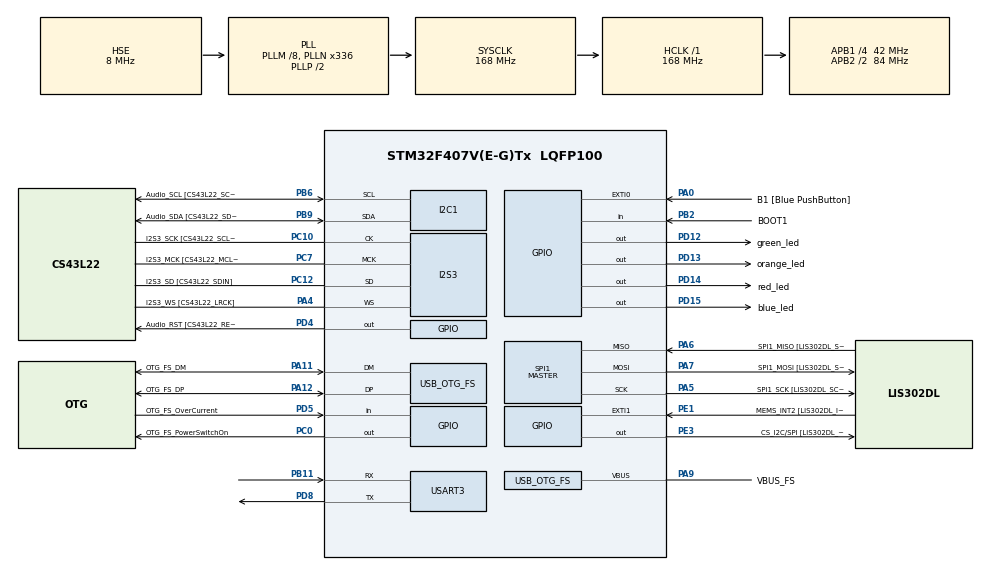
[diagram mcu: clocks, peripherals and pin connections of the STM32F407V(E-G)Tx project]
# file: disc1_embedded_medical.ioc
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I2S3.AudioFreq-Half_Duplex_Master=I2S_AUDIOFREQ_96K
I2S3.ErrorAudioFreq=-2.34 %
I2S3.ErrorAudioFreq-Half_Duplex_Master=0.8 %
I2S3.FullDuplexMode=I2S_FULLDUPLEXMODE_DISABLE
I2S3.Instance=SPI$Index
I2S3.RealAudioFreq=93.75 KHz
I2S3.RealAudioFreq-Half_Duplex_Master=96.774 KHz
I2S3.VirtualMode=I2S_MODE_MASTER
Mcu.Family=STM32F4
Mcu.Name=STM32F407V(E-G)Tx
Mcu.Package=LQFP100
NVIC.OTG_FS_IRQn=true\:0\:0\:false\:false\:true\:true\:true\:true
NVIC.PriorityGroup=NVIC_PRIORITYGROUP_0
PA0-WKUP.GPIO_Label=B1 [Blue PushButton]
PA0-WKUP.GPIO_ModeDefaultEXTI=GPIO_MODE_EVT_RISING
PA0-WKUP.GPIO_PuPd=GPIO_NOPULL
PA0-WKUP.Signal=GPXTI0
PA10.GPIO_Label=OTG_FS_ID
PA10.GPIO_Mode=GPIO_MODE_AF_PP
PA10.GPIO_PuPd=GPIO_NOPULL
PA10.GPIO_Speed=GPIO_SPEED_FREQ_LOW
PA10.Signal=USB_OTG_FS_ID
PA11.GPIO_Label=OTG_FS_DM
PA11.GPIO_Mode=GPIO_MODE_AF_PP
PA11.GPIO_PuPd=GPIO_NOPULL
PA11.GPIO_Speed=GPIO_SPEED_FREQ_LOW
PA11.Mode=Host_Only
PA11.Signal=USB_OTG_FS_DM
PA12.GPIO_Label=OTG_FS_DP
PA12.GPIO_Mode=GPIO_MODE_AF_PP
PA12.GPIO_PuPd=GPIO_NOPULL
PA12.GPIO_Speed=GPIO_SPEED_FREQ_LOW
PA12.Mode=Host_Only
PA12.Signal=USB_OTG_FS_DP
PA13.GPIO_Label=SWDIO
PA13.Mode=Serial_Wire
PA13.Signal=SYS_JTMS-SWDIO
PA14.GPIO_Label=SWCLK
PA14.Mode=Serial_Wire
PA14.Signal=SYS_JTCK-SWCLK
PA4.GPIO_Label=I2S3_WS [CS43L22_LRCK]
PA4.GPIO_Mode=GPIO_MODE_AF_PP
PA4.GPIO_PuPd=GPIO_NOPULL
PA4.GPIO_Speed=GPIO_SPEED_FREQ_LOW
PA4.Mode=Half_Duplex_Master
PA4.Signal=I2S3_WS
PA5.GPIO_Label=SPI1_SCK [LIS302DL_SCL/SPC]
PA5.GPIO_Mode=GPIO_MODE_AF_PP
PA5.GPIO_PuPd=GPIO_NOPULL
PA5.GPIO_Speed=GPIO_SPEED_FREQ_LOW
PA5.Mode=Full_Duplex_Master
PA5.Signal=SPI1_SCK
PA6.GPIO_Label=SPI1_MISO [LIS302DL_SDO]
PA6.GPIO_Mode=GPIO_MODE_AF_PP
PA6.GPIO_PuPd=GPIO_NOPULL
PA6.GPIO_Speed=GPIO_SPEED_FREQ_LOW
PA6.Mode=Full_Duplex_Master
PA6.Signal=SPI1_MISO
PA7.GPIO_Label=SPI1_MOSI [LIS302DL_SDA/SDI/SDO]
PA7.GPIO_Mode=GPIO_MODE_AF_PP
PA7.GPIO_PuPd=GPIO_NOPULL
PA7.GPIO_Speed=GPIO_SPEED_FREQ_LOW
PA7.Mode=Full_Duplex_Master
PA7.Signal=SPI1_MOSI
PA9.GPIO_Label=VBUS_FS
PA9.GPIO_Mode=GPIO_MODE_INPUT
PA9.GPIO_PuPd=GPIO_NOPULL
PA9.Mode=Activate_VBUS
PA9.Signal=USB_OTG_FS_VBUS
PB10.GPIO_Label=CLK_IN [MP45DT02_CLK]
PB10.GPIO_Mode=GPIO_MODE_AF_PP
PB10.GPIO_PuPd=GPIO_NOPULL
PB10.GPIO_Speed=GPIO_SPEED_FREQ_LOW
PB10.Signal=I2S2_CK
PB11.Mode=Asynchronous
PB11.Signal=USART3_RX
PB2.GPIO_Label=BOOT1
PB2.GPIO_Mode=GPIO_MODE_INPUT
PB2.GPIO_PuPd=GPIO_NOPULL
PB2.Signal=GPIO_Input
PB3.GPIO_Label=SWO
PB3.Signal=SYS_JTDO-SWO
PB6.GPIO_Label=Audio_SCL [CS43L22_SCL]
PB6.GPIO_Mode=GPIO_MODE_AF_OD
PB6.GPIO_Pu=GPIO_PULLUP
PB6.GPIO_PuPd=GPIO_NOPULL
PB6.GPIO_Speed=GPIO_SPEED_FREQ_LOW
PB6.Mode=I2C
PB6.Signal=I2C1_SCL
PB9.GPIO_Label=Audio_SDA [CS43L22_SDA]
PB9.GPIO_Mode=GPIO_MODE_AF_OD
PB9.GPIO_Pu=GPIO_PULLUP
PB9.GPIO_PuPd=GPIO_NOPULL
PB9.GPIO_Speed=GPIO_SPEED_FREQ_LOW
PB9.Mode=I2C
PB9.Signal=I2C1_SDA
PC0.GPIO_Label=OTG_FS_PowerSwitchOn
PC0.GPIO_PuPd=GPIO_NOPULL
PC0.GPIO_Speed=GPIO_SPEED_FREQ_LOW
PC0.PinState=GPIO_PIN_SET
PC0.Signal=GPIO_Output
PC10.GPIO_Label=I2S3_SCK [CS43L22_SCLK]
PC10.GPIO_Mode=GPIO_MODE_AF_PP
PC10.GPIO_PuPd=GPIO_NOPULL
PC10.GPIO_Speed=GPIO_SPEED_FREQ_LOW
PC10.Mode=Half_Duplex_Master
PC10.Signal=I2S3_CK
PC12.GPIO_Label=I2S3_SD [CS43L22_SDIN]
PC12.GPIO_Mode=GPIO_MODE_AF_PP
PC12.GPIO_PuPd=GPIO_NOPULL
PC12.GPIO_Speed=GPIO_SPEED_FREQ_LOW
PC12.Mode=Half_Duplex_Master
PC12.Signal=I2S3_SD
PC14-OSC32_IN.GPIO_Label=PC14-OSC32_IN
PC14-OSC32_IN.Mode=LSE-External-Oscillator
PC14-OSC32_IN.Signal=RCC_OSC32_IN
PC15-OSC32_OUT.GPIO_Label=PC15-OSC32_OUT
PC15-OSC32_OUT.Mode=LSE-External-Oscillator
PC15-OSC32_OUT.Signal=RCC_OSC32_OUT
PC3.GPIO_Label=PDM_OUT [MP45DT02_DOUT]
PC3.GPIO_Mode=GPIO_MODE_AF_PP
PC3.GPIO_PuPd=GPIO_NOPULL
PC3.GPIO_Speed=GPIO_SPEED_FREQ_LOW
PC3.Signal=I2S2_SD
PC7.GPIO_Label=I2S3_MCK [CS43L22_MCLK]
PC7.GPIO_Mode=GPIO_MODE_AF_PP
PC7.GPIO_PuPd=GPIO_NOPULL
PC7.GPIO_Speed=GPIO_SPEED_FREQ_LOW
PC7.Mode=Master_Clock_Activated
PC7.Signal=I2S3_MCK
PD12.GPIO_Label=green_led
PD12.GPIO_PuPd=GPIO_NOPULL
PD12.GPIO_Speed=GPIO_SPEED_FREQ_LOW
PD12.Signal=GPIO_Output
PD13.GPIO_Label=orange_led
PD13.GPIO_PuPd=GPIO_NOPULL
PD13.GPIO_Speed=GPIO_SPEED_FREQ_LOW
PD13.Signal=GPIO_Output
PD14.GPIO_Label=red_led
PD14.GPIO_PuPd=GPIO_NOPULL
PD14.GPIO_Speed=GPIO_SPEED_FREQ_LOW
PD14.Signal=GPIO_Output
PD15.GPIO_Label=blue_led
PD15.GPIO_PuPd=GPIO_NOPULL
PD15.GPIO_Speed=GPIO_SPEED_FREQ_LOW
PD15.Signal=GPIO_Output
PD4.GPIO_Label=Audio_RST [CS43L22_RESET]
PD4.GPIO_PuPd=GPIO_NOPULL
PD4.GPIO_Speed=GPIO_SPEED_FREQ_LOW
PD4.Signal=GPIO_Output
PD5.GPIO_Label=OTG_FS_OverCurrent
PD5.GPIO_Mode=GPIO_MODE_INPUT
PD5.GPIO_PuPd=GPIO_NOPULL
PD5.Signal=GPIO_Input
PD8.Mode=Asynchronous
PD8.Signal=USART3_TX
PE1.GPIO_Label=MEMS_INT2 [LIS302DL_INT2]
PE1.GPIO_ModeDefaultEXTI=GPIO_MODE_EVT_RISING
PE1.GPIO_PuPd=GPIO_NOPULL
PE1.Signal=GPXTI1
PE3.GPIO_Label=CS_I2C/SPI [LIS302DL_CS_I2C/SPI]
PE3.GPIO_PuPd=GPIO_NOPULL
PE3.GPIO_Speed=GPIO_SPEED_FREQ_LOW
PE3.Signal=GPIO_Output
PH0-OSC_IN.GPIO_Label=PH0-OSC_IN
PH0-OSC_IN.Mode=HSE-External-Oscillator
PH0-OSC_IN.Signal=RCC_OSC_IN
PH1-OSC_OUT.GPIO_Label=PH1-OSC_OUT
PH1-OSC_OUT.Mode=HSE-External-Oscillator
PH1-OSC_OUT.Signal=RCC_OSC_OUT
ProjectManager.HeapSize=0x200
ProjectManager.StackSize=0x400
ProjectManager.TargetToolchain=STM32CubeIDE
RCC.48MHZClocksFreq_Value=48000000
RCC.AHBFreq_Value=168000000
RCC.APB1CLKDivider=RCC_HCLK_DIV4
RCC.APB1Freq_Value=42000000
RCC.APB1TimFreq_Value=84000000
RCC.APB2CLKDivider=RCC_HCLK_DIV2
RCC.APB2Freq_Value=84000000
RCC.APB2TimFreq_Value=168000000
RCC.CortexFreq_Value=168000000
RCC.HCLKFreq_Value=168000000
RCC.HSE_VALUE=8000000
RCC.HSI_VALUE=16000000
RCC.PLLM=8
RCC.PLLN=336
RCC.PLLQ=7
RCC.SYSCLKFreq_VALUE=168000000
RCC.SYSCLKSource=RCC_SYSCLKSOURCE_PLLCLK
RCC.VCOOutputFreq_Value=336000000
SPI1.BaudRatePrescaler-Full_Duplex_Master=SPI_BAUDRATEPRESCALER_2
SPI1.CalculateBaudRate-Full_Duplex_Master=42.0 MBits/s
SPI1.Direction=SPI_DIRECTION_2LINES
SPI1.Mode=SPI_MODE_MASTER
SPI1.Mode-Full_Duplex_Master=SPI_MODE_MASTER
SPI1.VirtualType=VM_MASTER
USART3.VirtualMode=VM_ASYNC
USB_HOST.BSP.number=1
USB_HOST.USBH_HandleTypeDef-CDC_FS=hUsbHostFS
USB_HOST.VirtualModeFS=Cdc
USB_HOST0.BSP.STBoard=false
USB_HOST0.BSP.api=Unknown
USB_HOST0.BSP.instance=PC0
USB_HOST0.BSP.ip=GPIO
USB_HOST0.BSP.mode=Output
USB_HOST0.BSP.name=Drive_VBUS_FS
USB_HOST0.BSP.solution=PC0
USB_OTG_FS.VirtualMode=Host_Only
USB_OTG_FS.phy_itface=HCD_PHY_EMBEDDED
VP_USB_HOST_VS_USB_HOST_CDC_FS.Mode=CDC_FS
board=STM32F407G-DISC1

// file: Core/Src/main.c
/* USER CODE BEGIN Header */
/**
 ******************************************************************************
 * @file           : main.c
 * @brief          : Main program body
 ******************************************************************************
 * @attention
 *
 * Copyright (c) 2025 STMicroelectronics.
 * All rights reserved.
 *
 * This software is licensed under terms that can be found in the LICENSE file
 * in the root directory of this software component.
 * If no LICENSE file comes with this software, it is provided AS-IS.
 *
 ******************************************************************************
 */
/* USER CODE END Header */
#include "main.h"
#include "usb_host.h"

/* USER CODE BEGIN Includes */
#include "generate_data.h"
#include "patient_data.h"
#include "constants.h"
#include <stdio.h>
#include <string.h>
#include <stdlib.h>

/* USER CODE END Includes */

/* USER CODE BEGIN PD */
#define UART_BUFFER_SIZE 64

/* USER CODE END PD */

I2C_HandleTypeDef hi2c1;

I2S_HandleTypeDef hi2s3;

SPI_HandleTypeDef hspi1;

UART_HandleTypeDef huart3;

void SystemClock_Config(void);
static void MX_GPIO_Init(void);
static void MX_I2C1_Init(void);
static void MX_I2S3_Init(void);
static void MX_SPI1_Init(void);
static void MX_USART3_UART_Init(void);
void MX_USB_HOST_Process(void);

int main(void) {

    /* MCU Configuration--------------------------------------------------------*/

    /* Reset of all peripherals, Initializes the Flash interface and the Systick. */
    HAL_Init();

    /* Configure the system clock */
    SystemClock_Config();

    /* Initialize all configured peripherals */
    MX_GPIO_Init();
    MX_I2C1_Init();
    MX_I2S3_Init();
    MX_SPI1_Init();
    MX_USB_HOST_Init();
    MX_USART3_UART_Init();
    /* USER CODE BEGIN 2 */

    char data_buffer[UART_BUFFER_SIZE];

    char temp[] = "Body temperature: ";
    char o2[] = "Blood oxygen percentage: ";
    char heartrate[] = "Heart rate: ";
    char msg_ok[] = "Vitals stable.\n \r";
    char msg_brady[] = "Alert: Bradycardia detected. \n \r";
    char msg_tachy[] = "Alert: Tachycardia detected. \n \r";
    char msg_low_o2[] = "Alert: Low oxygen saturation detected.\n \r";
    char msg_hypo[] = "Alert: Hypothermia detected.\n \r";
    char msg_fever[] = "Alert: Fever detected.\n \r";
    int8_t normal = 1;

    // init users. todo: initialize statically
    User *users[NUM_USERS]; // generate array of users
    for (int i = 0; i < NUM_USERS; i++) {
    	users[i] = malloc(sizeof(User));
    	if (users[i] == NULL) {
    		return 1;
    	}
    	users[i]->user_id = i + 1;
    }

    /* USER CODE END 2 */

    /* Infinite loop */
    while (1) {
        MX_USB_HOST_Process();

        /* USER CODE BEGIN 3 */
        HAL_GPIO_TogglePin(blue_led_GPIO_Port, blue_led_Pin); // visually indicate program is running

        // generate and log data for NUM_USERS amount of users
        for (int i = 0; i < NUM_USERS; i++) {
        	generate_data(&users[i]->patient_data);

			int user_id = users[i]->user_id;
			int id_length = snprintf(data_buffer, UART_BUFFER_SIZE, "%d\r\n", user_id);
			HAL_UART_Transmit(&huart3, (uint8_t *)temp, sizeof(temp), HAL_MAX_DELAY);
			HAL_UART_Transmit(&huart3, (uint8_t *)data_buffer, id_length, HAL_MAX_DELAY);
			memset(data_buffer, 0, sizeof(data_buffer));

			// memcpy(data_buffer, (void *)patient_data.temperature, sizeof(patient_data.temperature));
			int body_temp = users[i]->patient_data.temperature;
			int bt_length = snprintf(data_buffer, UART_BUFFER_SIZE, "%d\r\n", body_temp);
			HAL_UART_Transmit(&huart3, (uint8_t *)temp, sizeof(temp), HAL_MAX_DELAY);
			HAL_UART_Transmit(&huart3, (uint8_t *)data_buffer, bt_length, HAL_MAX_DELAY);
			memset(data_buffer, 0, sizeof(data_buffer));

			int heart_rate = users[i]->patient_data.heartRate;
			int hr_length = snprintf(data_buffer, UART_BUFFER_SIZE, "%d\r\n", heart_rate);
			HAL_UART_Transmit(&huart3, (uint8_t *)heartrate, sizeof(heartrate), HAL_MAX_DELAY);
			HAL_UART_Transmit(&huart3, (uint8_t *)data_buffer, hr_length, HAL_MAX_DELAY);
			memset(data_buffer, 0, sizeof(data_buffer));

			int oxygen_percentage = users[i]->patient_data.oxygen_percentage;
			int o2_length = snprintf(data_buffer, UART_BUFFER_SIZE, "%d\r\n", oxygen_percentage);
			HAL_UART_Transmit(&huart3, (uint8_t *)o2, sizeof(o2), HAL_MAX_DELAY);
			HAL_UART_Transmit(&huart3, (uint8_t *)data_buffer, o2_length, HAL_MAX_DELAY);
			memset(data_buffer, 0, sizeof(data_buffer));

			if (body_temp > 98) {
				HAL_UART_Transmit(&huart3, (uint8_t *)msg_fever, sizeof(msg_fever), HAL_MAX_DELAY);
				normal = 0;
			} else if (body_temp < 95) {
				HAL_UART_Transmit(&huart3, (uint8_t *)msg_hypo, sizeof(msg_hypo), HAL_MAX_DELAY);
				normal = 0;
			}

			if (heart_rate > 100) {
				HAL_UART_Transmit(&huart3, (uint8_t *)msg_tachy, sizeof(msg_tachy), HAL_MAX_DELAY);
				normal = 0;
			} else if (heart_rate < 60) {
				HAL_UART_Transmit(&huart3, (uint8_t *)msg_brady, sizeof(msg_brady), HAL_MAX_DELAY);
				normal = 0;
			}

			if (oxygen_percentage < 90) {
				HAL_UART_Transmit(&huart3, (uint8_t *)msg_low_o2, sizeof(msg_low_o2), HAL_MAX_DELAY);
				normal = 0;
			}

			if (normal) {
				HAL_UART_Transmit(&huart3, (uint8_t *)msg_ok, sizeof(msg_ok), HAL_MAX_DELAY);
				HAL_GPIO_TogglePin(green_led_GPIO_Port, green_led_Pin); // visual indication of vitals ok
			} else {
				HAL_GPIO_TogglePin(red_led_GPIO_Port, red_led_Pin); // visual alert
			}

			// reset flag
			normal = 1;
        }

        // simulate delay (1s), pause so can see status, then reset lights for next iteration
        HAL_Delay(500);
        HAL_GPIO_WritePin(red_led_GPIO_Port, red_led_Pin, GPIO_PIN_RESET);
        HAL_GPIO_WritePin(green_led_GPIO_Port, green_led_Pin, GPIO_PIN_RESET);
        HAL_GPIO_WritePin(blue_led_GPIO_Port, blue_led_Pin, GPIO_PIN_RESET);
        HAL_Delay(500);
    }

    for (int i = 0; i < NUM_USERS; i++) {
    	free(users[i]);
    }

    /* USER CODE END 3 */
}

void SystemClock_Config(void) {
    RCC_OscInitTypeDef RCC_OscInitStruct = {0};
    RCC_ClkInitTypeDef RCC_ClkInitStruct = {0};

    /** Configure the main internal regulator output voltage
     */
    __HAL_RCC_PWR_CLK_ENABLE();
    __HAL_PWR_VOLTAGESCALING_CONFIG(PWR_REGULATOR_VOLTAGE_SCALE1);

    /** Initializes the RCC Oscillators according to the specified parameters
     * in the RCC_OscInitTypeDef structure.
     */
    RCC_OscInitStruct.OscillatorType = RCC_OSCILLATORTYPE_HSE;
    RCC_OscInitStruct.HSEState = RCC_HSE_ON;
    RCC_OscInitStruct.PLL.PLLState = RCC_PLL_ON;
    RCC_OscInitStruct.PLL.PLLSource = RCC_PLLSOURCE_HSE;
    RCC_OscInitStruct.PLL.PLLM = 8;
    RCC_OscInitStruct.PLL.PLLN = 336;
    RCC_OscInitStruct.PLL.PLLP = RCC_PLLP_DIV2;
    RCC_OscInitStruct.PLL.PLLQ = 7;
    if (HAL_RCC_OscConfig(&RCC_OscInitStruct) != HAL_OK) {
        Error_Handler();
    }

    /** Initializes the CPU, AHB and APB buses clocks
     */
    RCC_ClkInitStruct.ClockType = RCC_CLOCKTYPE_HCLK | RCC_CLOCKTYPE_SYSCLK | RCC_CLOCKTYPE_PCLK1 | RCC_CLOCKTYPE_PCLK2;
    RCC_ClkInitStruct.SYSCLKSource = RCC_SYSCLKSOURCE_PLLCLK;
    RCC_ClkInitStruct.AHBCLKDivider = RCC_SYSCLK_DIV1;
    RCC_ClkInitStruct.APB1CLKDivider = RCC_HCLK_DIV4;
    RCC_ClkInitStruct.APB2CLKDivider = RCC_HCLK_DIV2;

    if (HAL_RCC_ClockConfig(&RCC_ClkInitStruct, FLASH_LATENCY_5) != HAL_OK) {
        Error_Handler();
    }
}

static void MX_I2C1_Init(void) {

    hi2c1.Instance = I2C1;
    hi2c1.Init.ClockSpeed = 100000;
    hi2c1.Init.DutyCycle = I2C_DUTYCYCLE_2;
    hi2c1.Init.OwnAddress1 = 0;
    hi2c1.Init.AddressingMode = I2C_ADDRESSINGMODE_7BIT;
    hi2c1.Init.DualAddressMode = I2C_DUALADDRESS_DISABLE;
    hi2c1.Init.OwnAddress2 = 0;
    hi2c1.Init.GeneralCallMode = I2C_GENERALCALL_DISABLE;
    hi2c1.Init.NoStretchMode = I2C_NOSTRETCH_DISABLE;
    if (HAL_I2C_Init(&hi2c1) != HAL_OK) {
        Error_Handler();
    }
}

static void MX_I2S3_Init(void) {

    hi2s3.Instance = SPI3;
    hi2s3.Init.Mode = I2S_MODE_MASTER_TX;
    hi2s3.Init.Standard = I2S_STANDARD_PHILIPS;
    hi2s3.Init.DataFormat = I2S_DATAFORMAT_16B;
    hi2s3.Init.MCLKOutput = I2S_MCLKOUTPUT_ENABLE;
    hi2s3.Init.AudioFreq = I2S_AUDIOFREQ_96K;
    hi2s3.Init.CPOL = I2S_CPOL_LOW;
    hi2s3.Init.ClockSource = I2S_CLOCK_PLL;
    hi2s3.Init.FullDuplexMode = I2S_FULLDUPLEXMODE_DISABLE;
    if (HAL_I2S_Init(&hi2s3) != HAL_OK) {
        Error_Handler();
    }
}

static void MX_SPI1_Init(void) {

    /* SPI1 parameter configuration*/
    hspi1.Instance = SPI1;
    hspi1.Init.Mode = SPI_MODE_MASTER;
    hspi1.Init.Direction = SPI_DIRECTION_2LINES;
    hspi1.Init.DataSize = SPI_DATASIZE_8BIT;
    hspi1.Init.CLKPolarity = SPI_POLARITY_LOW;
    hspi1.Init.CLKPhase = SPI_PHASE_1EDGE;
    hspi1.Init.NSS = SPI_NSS_SOFT;
    hspi1.Init.BaudRatePrescaler = SPI_BAUDRATEPRESCALER_2;
    hspi1.Init.FirstBit = SPI_FIRSTBIT_MSB;
    hspi1.Init.TIMode = SPI_TIMODE_DISABLE;
    hspi1.Init.CRCCalculation = SPI_CRCCALCULATION_DISABLE;
    hspi1.Init.CRCPolynomial = 10;
    if (HAL_SPI_Init(&hspi1) != HAL_OK) {
        Error_Handler();
    }
}

static void MX_USART3_UART_Init(void) {

    huart3.Instance = USART3;
    huart3.Init.BaudRate = 115200;
    huart3.Init.WordLength = UART_WORDLENGTH_8B;
    huart3.Init.StopBits = UART_STOPBITS_1;
    huart3.Init.Parity = UART_PARITY_NONE;
    huart3.Init.Mode = UART_MODE_TX_RX;
    huart3.Init.HwFlowCtl = UART_HWCONTROL_NONE;
    huart3.Init.OverSampling = UART_OVERSAMPLING_16;
    if (HAL_UART_Init(&huart3) != HAL_OK) {
        Error_Handler();
    }
}

static void MX_GPIO_Init(void) {
    GPIO_InitTypeDef GPIO_InitStruct = {0};

    /* GPIO Ports Clock Enable */
    __HAL_RCC_GPIOE_CLK_ENABLE();
    __HAL_RCC_GPIOC_CLK_ENABLE();
    __HAL_RCC_GPIOH_CLK_ENABLE();
    __HAL_RCC_GPIOA_CLK_ENABLE();
    __HAL_RCC_GPIOB_CLK_ENABLE();
    __HAL_RCC_GPIOD_CLK_ENABLE();

    /*Configure GPIO pin Output Level */
    HAL_GPIO_WritePin(CS_I2C_SPI_GPIO_Port, CS_I2C_SPI_Pin, GPIO_PIN_RESET);

    /*Configure GPIO pin Output Level */
    HAL_GPIO_WritePin(OTG_FS_PowerSwitchOn_GPIO_Port, OTG_FS_PowerSwitchOn_Pin, GPIO_PIN_SET);

    /*Configure GPIO pin Output Level */
    HAL_GPIO_WritePin(GPIOD, green_led_Pin | orange_led_Pin | red_led_Pin | blue_led_Pin | Audio_RST_Pin, GPIO_PIN_RESET);

    /*Configure GPIO pin : CS_I2C_SPI_Pin */
    GPIO_InitStruct.Pin = CS_I2C_SPI_Pin;
    GPIO_InitStruct.Mode = GPIO_MODE_OUTPUT_PP;
    GPIO_InitStruct.Pull = GPIO_NOPULL;
    GPIO_InitStruct.Speed = GPIO_SPEED_FREQ_LOW;
    HAL_GPIO_Init(CS_I2C_SPI_GPIO_Port, &GPIO_InitStruct);

    /*Configure GPIO pin : OTG_FS_PowerSwitchOn_Pin */
    GPIO_InitStruct.Pin = OTG_FS_PowerSwitchOn_Pin;
    GPIO_InitStruct.Mode = GPIO_MODE_OUTPUT_PP;
    GPIO_InitStruct.Pull = GPIO_NOPULL;
    GPIO_InitStruct.Speed = GPIO_SPEED_FREQ_LOW;
    HAL_GPIO_Init(OTG_FS_PowerSwitchOn_GPIO_Port, &GPIO_InitStruct);

    /*Configure GPIO pin : PDM_OUT_Pin */
    GPIO_InitStruct.Pin = PDM_OUT_Pin;
    GPIO_InitStruct.Mode = GPIO_MODE_AF_PP;
    GPIO_InitStruct.Pull = GPIO_NOPULL;
    GPIO_InitStruct.Speed = GPIO_SPEED_FREQ_LOW;
    GPIO_InitStruct.Alternate = GPIO_AF5_SPI2;
    HAL_GPIO_Init(PDM_OUT_GPIO_Port, &GPIO_InitStruct);

    /*Configure GPIO pin : B1_Pin */
    GPIO_InitStruct.Pin = B1_Pin;
    GPIO_InitStruct.Mode = GPIO_MODE_EVT_RISING;
    GPIO_InitStruct.Pull = GPIO_NOPULL;
    HAL_GPIO_Init(B1_GPIO_Port, &GPIO_InitStruct);

    /*Configure GPIO pin : BOOT1_Pin */
    GPIO_InitStruct.Pin = BOOT1_Pin;
    GPIO_InitStruct.Mode = GPIO_MODE_INPUT;
    GPIO_InitStruct.Pull = GPIO_NOPULL;
    HAL_GPIO_Init(BOOT1_GPIO_Port, &GPIO_InitStruct);

    /*Configure GPIO pin : CLK_IN_Pin */
    GPIO_InitStruct.Pin = CLK_IN_Pin;
    GPIO_InitStruct.Mode = GPIO_MODE_AF_PP;
    GPIO_InitStruct.Pull = GPIO_NOPULL;
    GPIO_InitStruct.Speed = GPIO_SPEED_FREQ_LOW;
    GPIO_InitStruct.Alternate = GPIO_AF5_SPI2;
    HAL_GPIO_Init(CLK_IN_GPIO_Port, &GPIO_InitStruct);

    /*Configure GPIO pins : green_led_Pin orange_led_Pin red_led_Pin blue_led_Pin
                             Audio_RST_Pin */
    GPIO_InitStruct.Pin = green_led_Pin | orange_led_Pin | red_led_Pin | blue_led_Pin | Audio_RST_Pin;
    GPIO_InitStruct.Mode = GPIO_MODE_OUTPUT_PP;
    GPIO_InitStruct.Pull = GPIO_NOPULL;
    GPIO_InitStruct.Speed = GPIO_SPEED_FREQ_LOW;
    HAL_GPIO_Init(GPIOD, &GPIO_InitStruct);

    /*Configure GPIO pin : OTG_FS_OverCurrent_Pin */
    GPIO_InitStruct.Pin = OTG_FS_OverCurrent_Pin;
    GPIO_InitStruct.Mode = GPIO_MODE_INPUT;
    GPIO_InitStruct.Pull = GPIO_NOPULL;
    HAL_GPIO_Init(OTG_FS_OverCurrent_GPIO_Port, &GPIO_InitStruct);

    /*Configure GPIO pin : MEMS_INT2_Pin */
    GPIO_InitStruct.Pin = MEMS_INT2_Pin;
    GPIO_InitStruct.Mode = GPIO_MODE_EVT_RISING;
    GPIO_InitStruct.Pull = GPIO_NOPULL;
    HAL_GPIO_Init(MEMS_INT2_GPIO_Port, &GPIO_InitStruct);

}

void Error_Handler(void) {
    __disable_irq();
    while (1) {
    }
}
